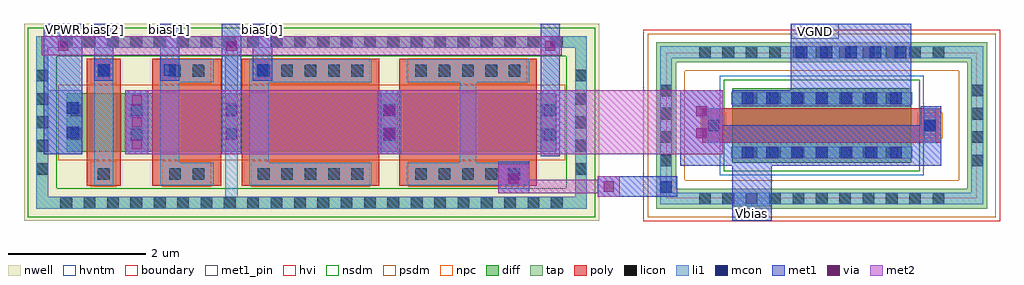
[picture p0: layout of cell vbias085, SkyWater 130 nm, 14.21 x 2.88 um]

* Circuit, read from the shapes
.subckt vbias085 VGND VPWR Vbias bias[0] bias[1] bias[2]
XM1 VGND Vbias Vbias VGND sky130_fd_pr__nfet_g5v0d10v5 w=2.6 l=0.5
XM2 Vbias bias[2] VPWR VPWR sky130_fd_pr__pfet_01v8 w=0.85 l=0.5
XM3 VPWR bias[1] Vbias VPWR sky130_fd_pr__pfet_01v8 w=0.85 l=1
XM4 Vbias bias[0] VPWR VPWR sky130_fd_pr__pfet_01v8 w=0.85 l=2
XM5 VPWR VGND Vbias VPWR sky130_fd_pr__pfet_01v8 w=0.85 l=2
.ends

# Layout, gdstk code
from math import pi, radians
import gdstk
lib = gdstk.Library(unit=1e-6, precision=1e-09)
def R(c, l, rs):  # rectangles x0, y0, x1, y1
    for r in rs: c.add(gdstk.rectangle(r[:2], r[2:], *l))
def A(c, l, x, y, w, h, nx, ny, dx, dy):  # array of equal rectangles
    R(c, l, [(x+i*dx, y+j*dy, x+i*dx+w, y+j*dy+h) for i in range(nx) for j in range(ny)])
nwell = (64, 20)
diff = (65, 20)
tap = (65, 44)
poly = (66, 20)
licon = (66, 44)
li1 = (67, 20)
mcon = (67, 44)
met1_pin = (68, 16)
met1 = (68, 20)
via = (68, 44)
met2 = (69, 20)
hvi = (75, 20)
nsdm = (93, 44)
psdm = (94, 20)
npc = (95, 20)
hvntm = (125, 20)
boundary = (235, 4)

sky130_fd_pr__nfet_g5v0d = lib.new_cell('sky130_fd_pr__nfet_g5v0d10v5_VRH6W2')
R(sky130_fd_pr__nfet_g5v0d, diff, [(-0.54,-1.3,0.54,1.3)])
R(sky130_fd_pr__nfet_g5v0d, tap, [(-1.21,-2.41,1.21,-2.12), (-1.21,-2.12,-0.92,2.12), (0.92,-2.12,1.21,2.12), (-1.21,2.12,1.21,2.41)])
R(sky130_fd_pr__nfet_g5v0d, poly, [(-0.25,-1.74,0.25,1.74)])
A(sky130_fd_pr__nfet_g5v0d, licon, -0.595, -2.35, 0.17, 0.17, 4, 2, 0.34, 4.53)
A(sky130_fd_pr__nfet_g5v0d, licon, -1.15, -1.785, 0.17, 0.17, 1, 11, 0, 0.34)
A(sky130_fd_pr__nfet_g5v0d, licon, 0.98, -1.785, 0.17, 0.17, 1, 11, 0, 0.34)
A(sky130_fd_pr__nfet_g5v0d, licon, -0.48, -1.105, 0.17, 0.17, 1, 7, 0, 0.34)
A(sky130_fd_pr__nfet_g5v0d, licon, 0.31, -1.105, 0.17, 0.17, 1, 7, 0, 0.34)
R(sky130_fd_pr__nfet_g5v0d, licon, [(-0.085,-1.66,0.085,-1.49), (-0.085,1.49,0.085,1.66)])
R(sky130_fd_pr__nfet_g5v0d, li1, [(-1.15,-2.35,1.15,-2.18), (-1.15,-2.18,-0.98,2.18), (0.98,-2.18,1.15,2.18), (-0.25,-1.66,0.25,-1.49), (-0.48,-1.32,-0.31,1.32), (0.31,-1.32,0.48,1.32), (-0.25,1.49,0.25,1.66), (-1.15,2.18,1.15,2.35)])
A(sky130_fd_pr__nfet_g5v0d, mcon, -0.48, -1.165, 0.17, 0.17, 1, 7, 0, 0.36)
A(sky130_fd_pr__nfet_g5v0d, mcon, 0.31, -1.165, 0.17, 0.17, 1, 7, 0, 0.36)
R(sky130_fd_pr__nfet_g5v0d, mcon, [(-0.085,-1.66,0.085,-1.49), (-0.085,1.49,0.085,1.66)])
R(sky130_fd_pr__nfet_g5v0d, met1, [(-0.23,-1.69,0.23,-1.46), (-0.51,-1.3,-0.28,1.3), (0.28,-1.3,0.51,1.3), (-0.23,1.46,0.23,1.69)])
R(sky130_fd_pr__nfet_g5v0d, hvi, [(-1.395,-2.595,1.395,2.595)])
R(sky130_fd_pr__nfet_g5v0d, nsdm, [(-0.665,-1.425,0.665,1.425)])
R(sky130_fd_pr__nfet_g5v0d, psdm, [(-1.335,-2.535,1.335,-1.995), (-1.335,-1.995,-0.795,1.995), (0.795,-1.995,1.335,1.995), (-1.335,1.995,1.335,2.535)])
R(sky130_fd_pr__nfet_g5v0d, npc, [(-0.185,-1.76,0.185,-1.39), (-0.185,1.39,0.185,1.76)])
R(sky130_fd_pr__nfet_g5v0d, hvntm, [(-0.725,-1.485,0.725,1.485)])
R(sky130_fd_pr__nfet_g5v0d, boundary, [(-1.06,-2.26,1.06,2.26)])

vbias085 = lib.new_cell('vbias085')
R(vbias085, nwell, [(0,0,8.37,2.87)])
R(vbias085, diff, [(0.62,1.01,7.75,1.86)])
R(vbias085, tap, [(0.18,0.18,8.19,0.35), (0.18,0.35,0.35,2.52), (8.02,0.35,8.19,2.52), (0.18,2.52,8.19,2.69)])
R(vbias085, poly, [(0.91,0.51,1.41,2.36), (1.87,0.51,2.87,2.36), (3.17,0.51,5.17,2.36), (5.46,0.51,7.46,2.36)])
A(vbias085, licon, 0.53, 0.18, 0.17, 0.17, 22, 2, 0.34, 2.34)
A(vbias085, licon, 3.405, 0.6, 0.17, 0.17, 5, 2, 0.34, 1.5)
A(vbias085, licon, 5.695, 0.6, 0.17, 0.17, 5, 2, 0.34, 1.5)
A(vbias085, licon, 0.18, 0.67, 0.17, 0.17, 1, 5, 0, 0.34)
A(vbias085, licon, 8.02, 0.67, 0.17, 0.17, 1, 5, 0, 0.34)
R(vbias085, licon, [(1.075,0.6,1.245,0.77), (2.115,0.6,2.285,0.77), (2.455,0.6,2.625,0.77), (0.68,1.18,0.85,1.35), (1.555,1.18,1.725,1.35), (2.935,1.18,3.105,1.35), (7.52,1.18,7.69,1.35), (5.23,1.185,5.4,1.355), (0.68,1.52,0.85,1.69), (1.555,1.52,1.725,1.69), (2.935,1.52,3.105,1.69), (7.52,1.52,7.69,1.69), (5.23,1.525,5.4,1.695), (1.075,2.1,1.245,2.27), (2.115,2.1,2.285,2.27), (2.455,2.1,2.625,2.27)])
R(vbias085, li1, [(0.18,0.18,8.19,0.35), (0.18,0.35,0.35,0.97), (2.93,0.35,3.11,2.52), (8.02,0.35,8.19,0.97), (9.26,0.41,9.43,0.58), (1.02,0.52,1.3,2.35), (1.98,0.52,2.76,0.85), (3.28,0.52,5.06,0.85), (5.57,0.52,7.35,0.85), (1.98,0.85,2.26,2.02), (3.28,0.85,3.56,2.02), (6.34,0.85,6.58,2.02), (0.18,0.97,0.85,1.9), (1.47,0.97,1.81,1.9), (5.19,0.97,5.44,1.9), (7.52,0.97,8.19,1.9), (0.18,1.9,0.35,2.52), (8.02,1.9,8.19,2.52), (1.98,2.02,2.76,2.35), (3.28,2.02,5.06,2.35), (5.57,2.02,7.35,2.35), (11.19,2.37,12.88,2.54), (0.18,2.52,8.19,2.69)])
A(vbias085, mcon, 11.23, 2.37, 0.17, 0.17, 5, 1, 0.36, 0)
R(vbias085, mcon, [(9.26,0.41,9.43,0.58), (7.04,0.595,7.21,0.765), (1.555,1.17,1.725,1.34), (5.225,1.17,5.395,1.34), (7.575,1.17,7.745,1.34), (2.935,1.18,3.105,1.35), (0.625,1.2,0.795,1.37), (1.555,1.53,1.725,1.7), (5.225,1.53,5.395,1.7), (7.575,1.53,7.745,1.7), (2.935,1.54,3.105,1.71), (0.625,1.56,0.795,1.73), (1.075,2.11,1.245,2.28), (2.035,2.11,2.205,2.28), (3.385,2.11,3.555,2.28)])
R(vbias085, met1_pin, [(10.31,0,10.88,0.22), (11.17,2.65,11.86,2.87), (0.29,2.69,0.85,2.87), (1.02,2.69,1.3,2.87), (1.98,2.69,2.26,2.87), (3.33,2.69,3.61,2.87)])
R(vbias085, met1, [(10.31,0,10.88,0.8), (8.35,0.35,9.51,0.65), (6.9,0.4,7.35,0.87), (9.55,0.8,13.35,1.39), (7.52,0.94,7.8,2.87), (0.29,0.97,0.85,2.87), (1.47,0.97,1.81,1.9), (2.88,0.97,3.16,2.87), (5.14,0.97,5.49,1.9), (9.55,1.39,10.17,1.9), (13.05,1.39,13.35,1.67), (11.16,1.67,12.91,2.87), (1.02,2.04,1.3,2.87), (1.98,2.04,2.26,2.87), (3.33,2.04,3.61,2.87)])
A(vbias085, via, 1.565, 1.04, 0.15, 0.15, 1, 3, 0, 0.32)
R(vbias085, via, [(8.435,0.425,8.585,0.575), (7.05,0.54,7.2,0.69), (5.24,1.2,5.39,1.35), (9.785,1.2,9.935,1.35), (5.24,1.52,5.39,1.67), (9.785,1.52,9.935,1.67), (0.495,2.475,0.645,2.625), (2.945,2.475,3.095,2.625), (7.585,2.475,7.735,2.625)])
R(vbias085, met2, [(8.35,0.35,8.67,0.4), (6.9,0.4,8.67,0.6), (6.9,0.6,7.35,0.83), (8.35,0.6,8.67,0.65), (1.47,0.97,10.17,1.9), (0.26,2.41,7.83,2.69)])
R(vbias085, nsdm, [(0.055,0.055,8.315,0.475), (0.055,0.475,0.475,2.395), (7.895,0.475,8.315,2.395), (0.055,2.395,8.315,2.815)])
R(vbias085, psdm, [(0.495,0.885,7.875,1.985)])
R(vbias085, npc, [(0.975,0.5,1.345,0.87), (2.015,0.5,2.725,0.87), (3.305,0.5,5.035,0.87), (5.595,0.5,7.325,0.87), (0.975,2,1.345,2.37), (2.015,2,2.725,2.37), (3.305,2,5.035,2.37), (5.595,2,7.325,2.37)])
vbias085.add(gdstk.Reference(sky130_fd_pr__nfet_g5v0d, (11.61,1.39), rotation=3*pi/2))
vbias085.add(gdstk.Label('VPWR', (0.57,2.78), layer=68, texttype=5))
vbias085.add(gdstk.Label('bias[2]', (1.16,2.78), layer=68, texttype=5))
vbias085.add(gdstk.Label('bias[1]', (2.12,2.78), layer=68, texttype=5))
vbias085.add(gdstk.Label('bias[0]', (3.47,2.78), layer=68, texttype=5))
vbias085.add(gdstk.Label('VGND', (11.515,2.76), layer=68, texttype=5))
vbias085.add(gdstk.Label('Vbias', (10.595,0.11), layer=68, texttype=5))

lib.write_gds('vbias085.gds')
